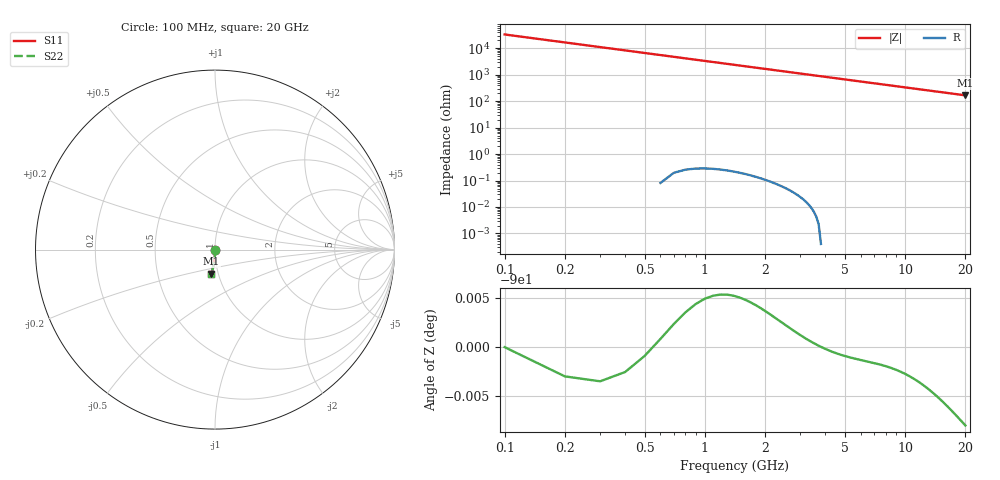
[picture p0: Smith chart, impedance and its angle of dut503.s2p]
! Touchstone file exported from HFSS 2026.1.0
!  File:  C:/ffzhzh/LocalFiles/Ansys_Project_Files/temp_train_TSV_503_1783023107_46388.aedt
!  Generated:  04:13:09 AM Jul  3, 2026
!  Design:  TSV
!  Project:  temp_train_TSV_503_1783023107_46388
! Variables:
!  h_bsmrdl = 2um
!  h_ox = 20um
!  h_rdl = 5um
!  h_sub = 54.6um
!  h_tmrdl = 5um
!  h_tsv = 54.6um
!  h_via = 3um
!  l_bsmrdl = 300um
!  l_sub = 426.76um
!  l_tmrdl = 200um
!  m_sub = 200um
!  pitch = 28.65um
!  r_tsv = 13.38um
!  s_tmrdl = 10um
!  w_bsmrdl = 18um
!  w_sub = 500um
!  w_tmrdl = 12um
!  x_tsv_center1 = 206um
!  x_tsv_center2 = 524um
!  x_tsv_center3 = 736um
!  x_tsv_center4 = 1054um
!  x_tsv_center5 = 1266um
!  x_tsv_center6 = 1584um
# GHz S MA R 50.000000
! Terminal data exported
! Port[1] = TSV1_1_T1
! Port[2] = TSV1_1_T2
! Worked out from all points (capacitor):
!   200 points, 100 MHz to 20 GHz, reference 50 ohm
!   read as one part in shunt: C = 48 fF near 200 MHz
!   lowest |Z| = 166 ohm at 20 GHz (marker M1)
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0.1  0.0006387 -82.8  0.9999 -0.1  0.9999 -0.1  0.0006387 -82.8
! Gamma 0 0 0 0
! Port Impedance 50 0 50 0
0.2  0.001277 -85.6  0.9999 -0.1  0.9999 -0.1  0.001277 -85.6
0.3  0.001925 -86.4  0.9999 -0.1  0.9999 -0.1  0.001925 -86.4
0.4  0.002583 -86.8  0.9998 -0.2  0.9998 -0.2  0.002583 -86.8
0.5  0.003249 -87.0  0.9998 -0.2  0.9998 -0.2  0.003249 -87.0
0.7  0.004599 -87.4  0.9998 -0.3  0.9998 -0.3  0.004599 -87.4
0.8  0.005278 -87.6  0.9997 -0.4  0.9997 -0.4  0.005278 -87.6
1  0.00664 -88.0  0.9997 -0.5  0.9997 -0.5  0.00664 -88.0
1.2  0.008005 -88.3  0.9996 -0.6  0.9996 -0.6  0.008005 -88.3
1.4  0.009369 -88.6  0.9996 -0.7  0.9996 -0.7  0.009369 -88.6
1.7  0.01142 -89.0  0.9996 -0.8  0.9996 -0.8  0.01142 -89.0
2  0.01346 -89.3  0.9995 -1.0  0.9995 -1.0  0.01346 -89.3
2.7  0.01823 -89.9  0.9994 -1.3  0.9994 -1.3  0.01823 -89.9
3.5  0.02369 -90.4  0.9992 -1.7  0.9992 -1.7  0.02369 -90.4
4.2  0.02847 -90.9  0.999 -2.0  0.999 -2.0  0.02847 -90.9
5  0.03394 -91.3  0.9988 -2.4  0.9988 -2.4  0.03394 -91.3
6.8  0.04625 -92.3  0.9982 -3.2  0.9982 -3.2  0.04625 -92.3
8.3  0.05651 -93.1  0.9976 -3.9  0.9976 -3.9  0.05651 -93.1
10.1  0.06881 -94.0  0.9967 -4.8  0.9967 -4.8  0.06881 -94.0
13.4  0.09126 -95.6  0.9947 -6.3  0.9947 -6.3  0.09126 -95.6
16.7  0.1136 -97.2  0.9923 -7.8  0.9923 -7.8  0.1136 -97.2
20  0.1357 -98.8  0.9894 -9.4  0.9894 -9.4  0.1357 -98.8
